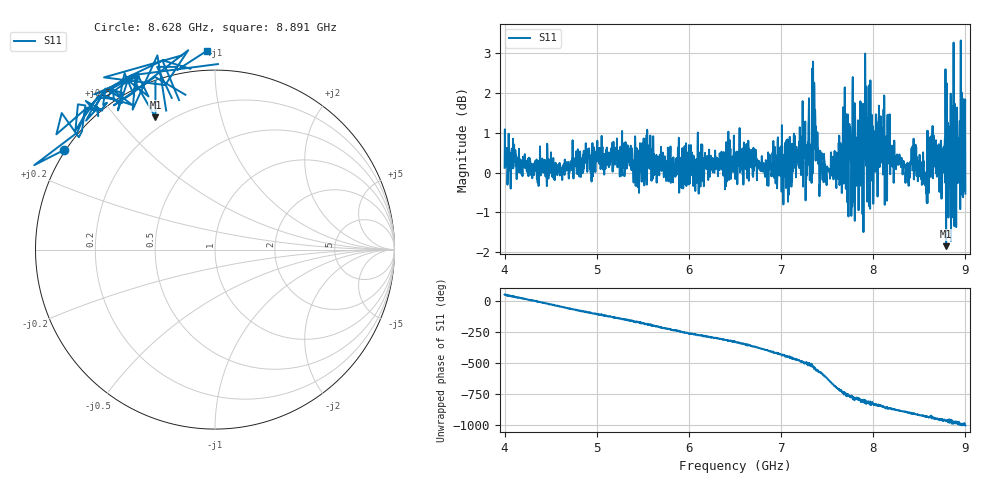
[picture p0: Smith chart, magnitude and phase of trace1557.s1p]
! Created with skrf 1.8.0 (http://scikit-rf.org).
# Hz S RI R 50.0
!freq ReS11 ImS11
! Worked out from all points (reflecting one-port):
!   1601 points, 4 GHz to 9 GHz, reference 50 ohm
!   lowest |S11| = -1.8 dB at 8.791 GHz (marker M1), VSWR 9.45, Z = 7.47 + j31.8 ohm
!   phase of S11 starts at 52 deg and turns -1057 deg over the sweep
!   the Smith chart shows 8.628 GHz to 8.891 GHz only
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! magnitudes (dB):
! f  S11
! 4 GHz  0.1
! 4.625 GHz  -0.2
! 5.25 GHz  -0.1
! 5.875 GHz  0.2
! 6.5 GHz  0.4
! 7.125 GHz  0.0
! 7.306 GHz  0.9
! 7.362 GHz  2.1
! 7.397 GHz  0.6
! 7.438 GHz  0.3
! 7.575 GHz  0.2
! 7.691 GHz  2.1
! 7.75 GHz  1.1
! 7.875 GHz  1.2
! 7.928 GHz  1.3
! 7.941 GHz  1.4
! 7.962 GHz  1.9
! 7.981 GHz  -0.2
! 8.097 GHz  0.4
! 8.375 GHz  0.2
! 8.441 GHz  -0.2
! 8.556 GHz  -0.3
! 8.641 GHz  0.8
! 8.791 GHz  -1.8
! 8.841 GHz  2.0
! 8.853 GHz  0.6
! 8.972 GHz  0.2
! 9 GHz  -0.5
